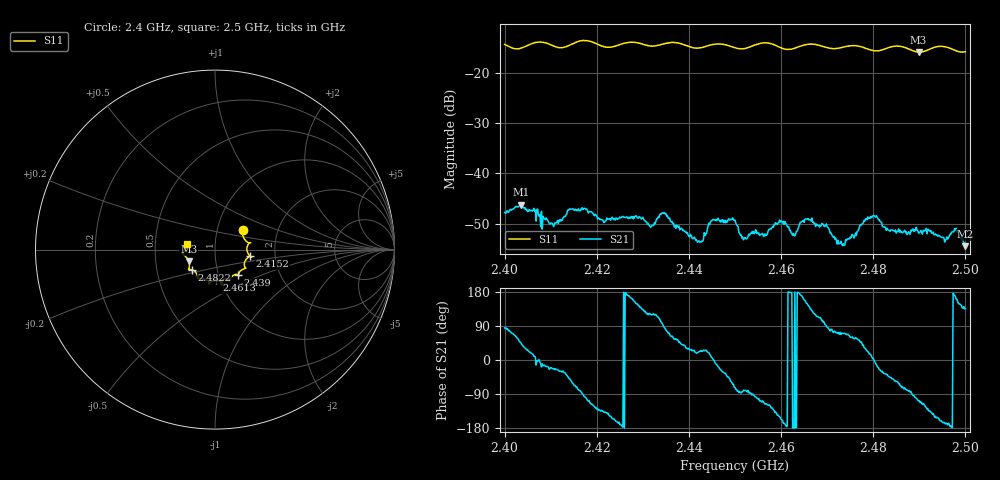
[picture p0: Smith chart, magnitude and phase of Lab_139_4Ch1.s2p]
# Hz S RI R 50
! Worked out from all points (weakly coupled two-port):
!   601 points, 2.4 GHz to 2.5 GHz, reference 50 ohm
!   highest |S21| = -46.21 dB at 2.4035 GHz (marker M1); lowest = -54.4 dB at 2.5 GHz (marker M2)
!   lowest |S11| = -15.9 dB at 2.4898 GHz (marker M3), VSWR 1.38, Z = 37 - j5.02 ohm
!   |S11| at or under -10 dB: start of sweep to end of sweep
!   S12 and S22 are empty: the file has one direction only
!   S11 on the Smith chart (normalised r, x): 2.4 GHz: 1.33, +0.31; 2.4152 GHz: 1.48, -0.11; 2.439 GHz: 1.24, -0.36; 2.4613 GHz: 0.96, -0.34; 2.4822 GHz: 0.76, -0.17; 2.5 GHz: 0.72, +0.05
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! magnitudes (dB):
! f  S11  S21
! 2.4 GHz  -14.4  -47.7
! 2.4035 GHz  -15.1  -46.2
! 2.4102 GHz  -14.5  -49.9
! 2.4152 GHz  -14.1  -47.4
! 2.4167 GHz  -13.6  -47.0
! 2.4318 GHz  -14.7  -50.5
! 2.4333 GHz  -14.5  -48.7
! 2.439 GHz  -14.4  -51.4
! 2.4425 GHz  -15.0  -53.6
! 2.4452 GHz  -14.4  -49.1
! 2.45 GHz  -15.0  -49.3
! 2.452 GHz  -15.2  -53.0
! 2.4613 GHz  -15.4  -50.5
! 2.4627 GHz  -15.2  -51.9
! 2.4667 GHz  -14.3  -48.9
! 2.4733 GHz  -14.9  -54.3
! 2.4793 GHz  -15.4  -48.9
! 2.4822 GHz  -15.4  -50.6
! 2.4833 GHz  -15.0  -51.3
! 2.4898 GHz  -15.9  -51.8
! 2.498 GHz  -15.6  -50.9
! 2.5 GHz  -15.8  -54.4
